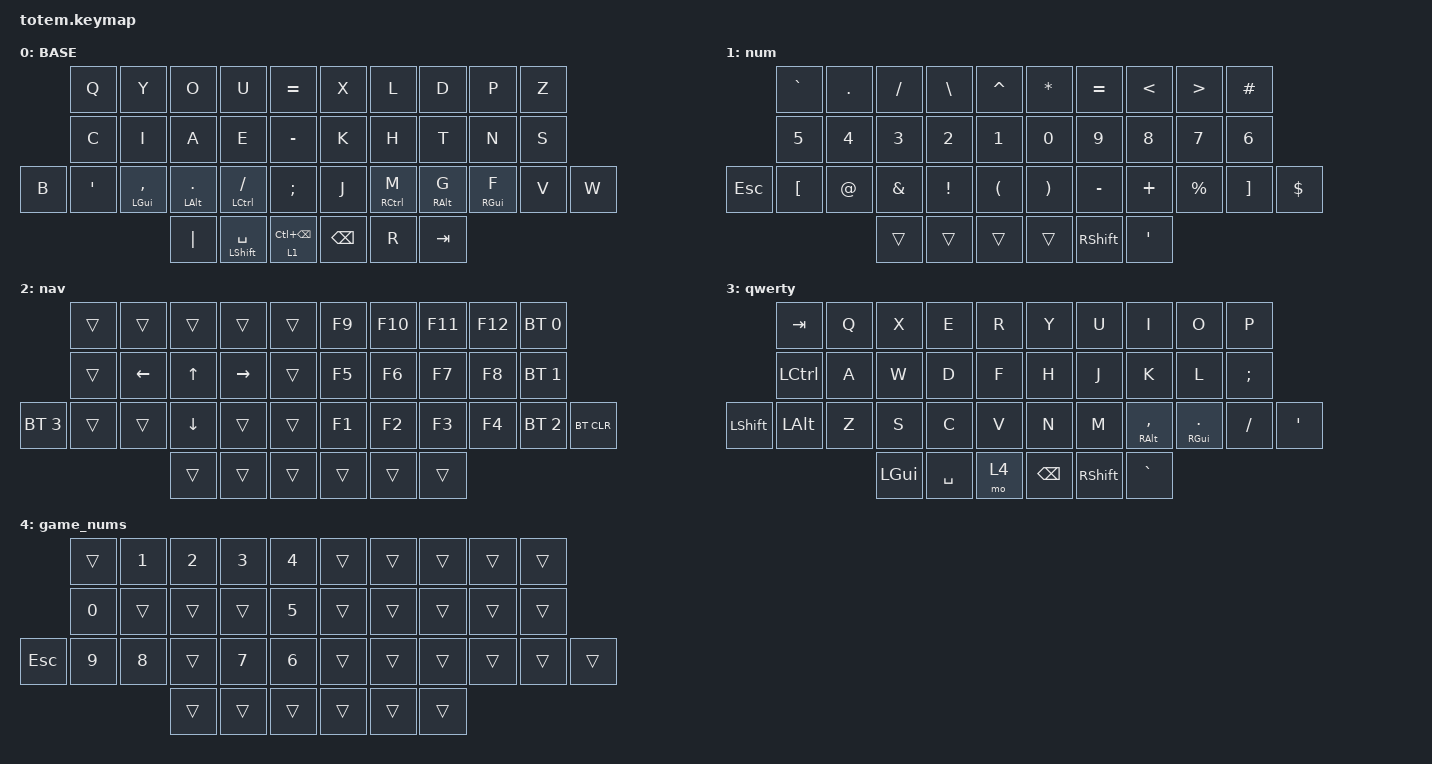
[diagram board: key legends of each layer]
//
//                                                        ▀▀▀▀▀     ▀▀▀▀▀          ▀▀█▀▀
//                                                        ▄▀▀▀▄  ▄  ▄▀▀▀▄  ▄  ▄▀▀▀▄  █  ▄▀▀▀▄
//                                                        █   █  █  █   █  █  █   █  █  █   █
//                                                         ▀▀▀   █   ▀▀▀   █   ▀▀▀   ▀   ▀▀▀
//                                                               █      ▄▄▄█▄▄▄    █   █  
//                                                               ▀      █  █  █     █▄█
//                                                             ▀▀▀▀▀    █  █  █      ▀
//                                                                      ▀  ▀  ▀
//
// ▄▄▄▄▄▄▄▄▄▄▄▄▄▄▄▄▄▄▄▄▄▄▄▄▄▄▄▄▄▄▄▄▄▄▄▄▄▄▄▄▄▄▄▄▄▄▄▄▄▄▄▄▄▄▄▄▄▄▄▄▄▄▄▄▄▄▄▄▄▄▄▄▄▄▄▄▄▄▄▄▄▄▄▄▄▄▄▄▄▄▄▄▄▄▄▄▄▄▄▄▄▄▄▄▄▄▄▄▄▄▄▄▄▄▄▄▄▄▄▄▄▄▄▄▄▄▄▄▄▄▄▄▄▄▄▄▄▄▄▄▄▄▄▄▄▄▄▄▄

#include <behaviors.dtsi>
#include <dt-bindings/zmk/bt.h>
#include <dt-bindings/zmk/keys.h>

#define BASE 0
#define NAV  1
#define SYM  2
#define ADJ  3
#define TVP1 4
#define TVP2 5

&mt {
    quick-tap-ms = <100>;
    global-quick-tap;
    flavor = "tap-preferred";
    tapping-term-ms = <170>;
};

/ {
    combos {
        compatible = "zmk,combos";

        nav_access {
            bindings = <&mo 2>;
            key-positions = <32 37>;
        };

        left_paranthesis {
            bindings = <&kp LEFT_PARENTHESIS>;
            key-positions = <12 13>;
            layers = <0>;
        };

        right_paranthesis {
            bindings = <&kp RIGHT_PARENTHESIS>;
            key-positions = <16 17>;
            layers = <0>;
        };

        left_brace {
            bindings = <&kp LEFT_BRACE>;
            key-positions = <2 3>;
            layers = <0>;
        };

        right_brace {
            bindings = <&kp RIGHT_BRACE>;
            key-positions = <6 7>;
            layers = <0>;
        };

        left_bracket {
            bindings = <&kp LEFT_BRACKET>;
            key-positions = <23 24>;
            layers = <0 3>;
        };

        right_bracket {
            bindings = <&kp RIGHT_BRACKET>;
            key-positions = <27 28>;
            layers = <0 3>;
        };

        return_thumb {
            bindings = <&kp RETURN>;
            key-positions = <27 24>;
        };

        qwerty_layer_access {
            bindings = <&tog 3>;
            key-positions = <26 35>;
            layers = <0 3>;
        };

        tab_combo {
            bindings = <&kp TAB>;
            key-positions = <7 8>;
            layers = <0 1>;
        };
    };

    macros {
        gif: gif {
            label = "giphy";
            compatible = "zmk,behavior-macro";
            #binding-cells = <0>;
            bindings =
                <&macro_press>,
                <&kp LSHFT>,
                <&macro_tap>,
                <&kp N2>,
                <&macro_release>,
                <&kp LSHFT>,
                <&macro_tap>,
                <&kp G &kp I &kp F>;
        };
    };

    keymap {
        compatible = "zmk,keymap";

        // ▄▄▄▄▄▄▄▄▄▄▄▄▄▄▄▄▄▄▄▄▄▄▄▄▄▄▄▄▄▄▄▄▄▄▄▄▄▄▄▄▄▄▄▄▄▄▄▄▄▄▄▄▄▄▄▄▄▄▄▄▄▄▄▄▄▄▄▄▄▄▄▄▄▄▄▄▄▄▄▄▄▄▄▄▄▄▄▄▄▄▄▄▄▄▄▄▄▄▄▄▄▄▄▄▄▄▄▄▄▄▄▄▄▄▄▄▄▄▄▄▄▄▄▄▄▄▄▄▄▄▄▄▄▄▄▄▄▄▄▄▄▄▄▄▄▄▄▄▄

        base_layer {
            // ┏━━━━━━━━━━━━━━━━━━━━━━━━━━━━━━━━━━━━━━━┓

            label = "BASE";

            // ┗━━━━━━━━━━━━━━━━━━━━━━━━━━━━━━━━━━━━━━━┛
            //             ┏━━━━━━━━━━━┳━━━━━━━━━━━┳━━━━━━━━━━━┳━━━━━━━━━━━┳━━━━━━━━━━━┓   ┏━━━━━━━━━━━┳━━━━━━━━━━━┳━━━━━━━━━━━┳━━━━━━━━━━━┳━━━━━━━━━━━┓
            //             ┃     Q     ┃     W     ┃     F     ┃     P     ┃     G     ┃   ┃     J     ┃     L     ┃     U     ┃     Y     ┃     ;     ┃
            //             ┣━━━━━━━━━━━╋━━━━━━━━━━━╋━━━━━━━━━━━╋━━━━━━━━━━━╋━━━━━━━━━━━┫   ┣━━━━━━━━━━━╋━━━━━━━━━━━╋━━━━━━━━━━━╋━━━━━━━━━━━╋━━━━━━━━━━━┫
            //             ┃     A     ┃     R     ┃     S     ┃     T     ┃     D     ┃   ┃     H     ┃     N     ┃     E     ┃     I     ┃     O     ┃
            // ┏━━━━━━━━━━━╋━━━━━━━━━━━╋━━━━━━━━━━━╋━━━━━━━━━━━╋━━━━━━━━━━━╋━━━━━━━━━━━┫   ┣━━━━━━━━━━━╋━━━━━━━━━━━╋━━━━━━━━━━━╋━━━━━━━━━━━╋━━━━━━━━━━━╋━━━━━━━━━━━┓
            // ┃     Q     ┃     Z     ┃     X     ┃     C     ┃     V     ┃     B     ┃   ┃     K     ┃     M     ┃     ,     ┃     .     ┃     /     ┃     \     ┃
            // ┗━━━━━━━━━━━┻━━━━━━━━━━━┻━━━━━━━━━━━╋━━━━━━━━━━━╋━━━━━━━━━━━╋━━━━━━━━━━━┫   ┣━━━━━━━━━━━╋━━━━━━━━━━━╋━━━━━━━━━━━╋━━━━━━━━━━━┻━━━━━━━━━━━┻━━━━━━━━━━━┛
            //                                     ┃    DEL    ┃    TAB    ┃    SPC    ┃   ┃   ENTER   ┃           ┃   BSPC    ┃
            //                                     ┗━━━━━━━━━━━┻━━━━━━━━━━━┻━━━━━━━━━━━┛   ┗━━━━━━━━━━━┻━━━━━━━━━━━┻━━━━━━━━━━━┛

            bindings = <
       &kp Q    &kp Y               &kp O                &kp U                   &kp EQUAL              &kp X          &kp L                &kp D            &kp P            &kp Z
       &kp C    &kp I               &kp A                &kp E                   &kp MINUS              &kp K          &kp H                &kp T            &kp N            &kp S
&kp B  &kp SQT  &mt LEFT_GUI COMMA  &mt LEFT_ALT PERIOD  &mt LEFT_CONTROL SLASH  &kp SEMICOLON          &kp J          &mt RIGHT_CONTROL M  &mt RIGHT_ALT G  &mt RIGHT_GUI F  &kp V  &kp W
                                    &kp PIPE             &mt LEFT_SHIFT SPACE    &lt 1 LC(BACKSPACE)    &kp BACKSPACE  &kp R                &kp TAB
            >;
        };

        // ▄▄▄▄▄▄▄▄▄▄▄▄▄▄▄▄▄▄▄▄▄▄▄▄▄▄▄▄▄▄▄▄▄▄▄▄▄▄▄▄▄▄▄▄▄▄▄▄▄▄▄▄▄▄▄▄▄▄▄▄▄▄▄▄▄▄▄▄▄▄▄▄▄▄▄▄▄▄▄▄▄▄▄▄▄▄▄▄▄▄▄▄▄▄▄▄▄▄▄▄▄▄▄▄▄▄▄▄▄▄▄▄▄▄▄▄▄▄▄▄▄▄▄▄▄▄▄▄▄▄▄▄▄▄▄▄▄▄▄▄▄▄▄▄▄▄▄▄▄

        numbers_symbols_layer {
            // ┏━━━━━━━━━━━━━━━━━━━━━━━━━━━━━━━━━━━━━━━┓

            label = "num";

            // ┗━━━━━━━━━━━━━━━━━━━━━━━━━━━━━━━━━━━━━━━┛
            //             ┏━━━━━━━━━━━┳━━━━━━━━━━━┳━━━━━━━━━━━┳━━━━━━━━━━━┳━━━━━━━━━━━┓   ┏━━━━━━━━━━━┳━━━━━━━━━━━┳━━━━━━━━━━━┳━━━━━━━━━━━┳━━━━━━━━━━━┓
            //             ┃           ┃           ┃     UP    ┃           ┃     {     ┃   ┃     }     ┃     7     ┃     8     ┃     9     ┃     +     ┃
            //             ┣━━━━━━━━━━━╋━━━━━━━━━━━╋━━━━━━━━━━━╋━━━━━━━━━━━╋━━━━━━━━━━━┫   ┣━━━━━━━━━━━╋━━━━━━━━━━━╋━━━━━━━━━━━╋━━━━━━━━━━━╋━━━━━━━━━━━┫
            //             ┃   SHIFT   ┃   LEFT    ┃    DOWN   ┃   RIGHT   ┃     [     ┃   ┃     ]     ┃     4     ┃     5     ┃     6     ┃     -     ┃
            // ┏━━━━━━━━━━━╋━━━━━━━━━━━╋━━━━━━━━━━━╋━━━━━━━━━━━╋━━━━━━━━━━━╋━━━━━━━━━━━┫   ┣━━━━━━━━━━━╋━━━━━━━━━━━╋━━━━━━━━━━━╋━━━━━━━━━━━╋━━━━━━━━━━━╋━━━━━━━━━━━┓
            // ┃           ┃           ┃   P UP    ┃  C LOCK   ┃  P DOWN   ┃     (     ┃   ┃     )     ┃     1     ┃     2     ┃     3     ┃     *     ┃           ┃
            // ┗━━━━━━━━━━━┻━━━━━━━━━━━┻━━━━━━━━━━━╋━━━━━━━━━━━╋━━━━━━━━━━━╋━━━━━━━━━━━┫   ┣━━━━━━━━━━━╋━━━━━━━━━━━╋━━━━━━━━━━━╋━━━━━━━━━━━┻━━━━━━━━━━━┻━━━━━━━━━━━┛
            //                                     ┃           ┃    TAB    ┃    SPC    ┃   ┃    DEL    ┃     0     ┃           ┃
            //                                     ┗━━━━━━━━━━━┻━━━━━━━━━━━┻━━━━━━━━━━━┛   ┗━━━━━━━━━━━┻━━━━━━━━━━━┻━━━━━━━━━━━┛

            bindings = <
         &kp GRAVE         &kp PERIOD   &kp SLASH      &kp BACKSLASH    &kp CARET    &kp ASTERISK  &kp EQUAL        &kp LESS_THAN  &kp GREATER_THAN  &kp HASH
         &kp N5            &kp N4       &kp N3         &kp N2           &kp N1       &kp N0        &kp N9           &kp N8         &kp N7            &kp N6
&kp ESC  &kp LEFT_BRACKET  &kp AT_SIGN  &kp AMPERSAND  &kp EXCLAMATION  &kp LPAR     &kp RPAR      &kp MINUS        &kp PLUS       &kp PERCENT       &kp RIGHT_BRACKET  &kp DOLLAR
                                        &trans         &trans           &trans       &trans        &kp RIGHT_SHIFT  &kp SQT
            >;
        };

        // ▄▄▄▄▄▄▄▄▄▄▄▄▄▄▄▄▄▄▄▄▄▄▄▄▄▄▄▄▄▄▄▄▄▄▄▄▄▄▄▄▄▄▄▄▄▄▄▄▄▄▄▄▄▄▄▄▄▄▄▄▄▄▄▄▄▄▄▄▄▄▄▄▄▄▄▄▄▄▄▄▄▄▄▄▄▄▄▄▄▄▄▄▄▄▄▄▄▄▄▄▄▄▄▄▄▄▄▄▄▄▄▄▄▄▄▄▄▄▄▄▄▄▄▄▄▄▄▄▄▄▄▄▄▄▄▄▄▄▄▄▄▄▄▄▄▄▄▄▄

        nav_layer {
            // ┏━━━━━━━━━━━━━━━━━━━━━━━━━━━━━━━━━━━━━━━┓

            label = "nav";

            // ┗━━━━━━━━━━━━━━━━━━━━━━━━━━━━━━━━━━━━━━━┛
            //             ┏━━━━━━━━━━━┳━━━━━━━━━━━┳━━━━━━━━━━━┳━━━━━━━━━━━┳━━━━━━━━━━━┓   ┏━━━━━━━━━━━┳━━━━━━━━━━━┳━━━━━━━━━━━┳━━━━━━━━━━━┳━━━━━━━━━━━┓
            //             ┃     !     ┃     @     ┃     #     ┃     $     ┃     %     ┃   ┃     ˆ     ┃     &     ┃     Ü     ┃     '     ┃     "     ┃
            //             ┣━━━━━━━━━━━╋━━━━━━━━━━━╋━━━━━━━━━━━╋━━━━━━━━━━━╋━━━━━━━━━━━┫   ┣━━━━━━━━━━━╋━━━━━━━━━━━╋━━━━━━━━━━━╋━━━━━━━━━━━╋━━━━━━━━━━━┫
            //             ┃     Ä     ┃           ┃    SZ     ┃           ┃           ┃   ┃   MUTE    ┃   YEN     ┃   EURO    ┃  POUND    ┃     Ö     ┃
            // ┏━━━━━━━━━━━╋━━━━━━━━━━━╋━━━━━━━━━━━╋━━━━━━━━━━━╋━━━━━━━━━━━╋━━━━━━━━━━━┫   ┣━━━━━━━━━━━╋━━━━━━━━━━━╋━━━━━━━━━━━╋━━━━━━━━━━━╋━━━━━━━━━━━╋━━━━━━━━━━━┓
            // ┃           ┃  EMAIL1   ┃  EMAIL2   ┃           ┃           ┃           ┃   ┃   VOL-    ┃   VOL+    ┃   LAST    ┃   NEXT    ┃     \     ┃           ┃
            // ┗━━━━━━━━━━━┻━━━━━━━━━━━┻━━━━━━━━━━━╋━━━━━━━━━━━╋━━━━━━━━━━━╋━━━━━━━━━━━┫   ┣━━━━━━━━━━━╋━━━━━━━━━━━╋━━━━━━━━━━━╋━━━━━━━━━━━┻━━━━━━━━━━━┻━━━━━━━━━━━┛
            //                                     ┃           ┃    GIF    ┃    ADJ    ┃   ┃           ┃           ┃           ┃
            //                                     ┗━━━━━━━━━━━┻━━━━━━━━━━━┻━━━━━━━━━━━┛   ┗━━━━━━━━━━━┻━━━━━━━━━━━┻━━━━━━━━━━━┛

            bindings = <
              &trans  &trans    &trans    &trans     &trans    &kp F9  &kp F10  &kp F11  &kp F12  &bt BT_SEL 0
              &trans  &kp LEFT  &kp UP    &kp RIGHT  &trans    &kp F5  &kp F6   &kp F7   &kp F8   &bt BT_SEL 1
&bt BT_SEL 3  &trans  &trans    &kp DOWN  &trans     &trans    &kp F1  &kp F2   &kp F3   &kp F4   &bt BT_SEL 2  &bt BT_CLR
                                &trans    &trans     &trans    &trans  &trans   &trans
            >;
        };

        qwerty {
            bindings = <
                &kp TAB           &kp Q  &kp X         &kp E      &kp R    &kp Y          &kp U            &kp I                &kp O                 &kp P
                &kp LEFT_CONTROL  &kp A  &kp W         &kp D      &kp F    &kp H          &kp J            &kp K                &kp L                 &kp SEMICOLON
&kp LEFT_SHIFT  &kp LEFT_ALT      &kp Z  &kp S         &kp C      &kp V    &kp N          &kp M            &mt RIGHT_ALT COMMA  &mt RIGHT_GUI PERIOD  &kp SLASH      &kp SINGLE_QUOTE
                                         &kp LEFT_GUI  &kp SPACE  &mo 4    &kp BACKSPACE  &kp RIGHT_SHIFT  &kp GRAVE
            >;
        };

        game_nums {
            bindings = <
            &trans  &kp N1  &kp N2  &kp N3  &kp N4    &trans  &trans  &trans  &trans  &trans
            &kp N0  &trans  &trans  &trans  &kp N5    &trans  &trans  &trans  &trans  &trans
&kp ESCAPE  &kp N9  &kp N8  &trans  &kp N7  &kp N6    &trans  &trans  &trans  &trans  &trans  &trans
                            &trans  &trans  &trans    &trans  &trans  &trans
            >;
        };

        // ▄▄▄▄▄▄▄▄▄▄▄▄▄▄▄▄▄▄▄▄▄▄▄▄▄▄▄▄▄▄▄▄▄▄▄▄▄▄▄▄▄▄▄▄▄▄▄▄▄▄▄▄▄▄▄▄▄▄▄▄▄▄▄▄▄▄▄▄▄▄▄▄▄▄▄▄▄▄▄▄▄▄▄▄▄▄▄▄▄▄▄▄▄▄▄▄▄▄▄▄▄▄▄▄▄▄▄▄▄▄▄▄▄▄▄▄▄▄▄▄▄▄▄▄▄▄▄▄▄▄▄▄▄▄▄▄▄▄▄▄▄▄▄▄▄▄▄▄▄
        // ▄▄▄▄▄▄▄▄▄▄▄▄▄▄▄▄▄▄▄▄▄▄▄▄▄▄▄▄▄▄▄▄▄▄▄▄▄▄▄▄▄▄▄▄▄▄▄▄▄▄▄▄▄▄▄▄▄▄▄▄▄▄▄▄▄▄▄▄▄▄▄▄▄▄▄▄▄▄▄▄▄▄▄▄▄▄▄▄▄▄▄▄▄▄▄▄▄▄▄▄▄▄▄▄▄▄▄▄▄▄▄▄▄▄▄▄▄▄▄▄▄▄▄▄▄▄▄▄▄▄▄▄▄▄▄▄▄▄▄▄▄▄▄▄▄▄▄▄▄
        // ▄▄▄▄▄▄▄▄▄▄▄▄▄▄▄▄▄▄▄▄▄▄▄▄▄▄▄▄▄▄▄▄▄▄▄▄▄▄▄▄▄▄▄▄▄▄▄▄▄▄▄▄▄▄▄▄▄▄▄▄▄▄▄▄▄▄▄▄▄▄▄▄▄▄▄▄▄▄▄▄▄▄▄▄▄▄▄▄▄▄▄▄▄▄▄▄▄▄▄▄▄▄▄▄▄▄▄▄▄▄▄▄▄▄▄▄▄▄▄▄▄▄▄▄▄▄▄▄▄▄▄▄▄▄▄▄▄▄▄▄▄▄▄▄▄▄▄▄▄
    };
};
